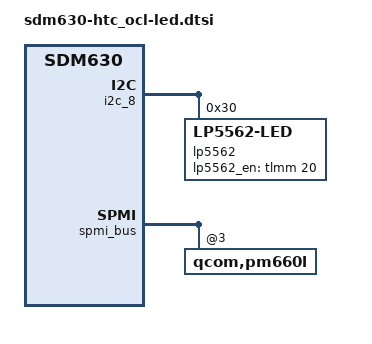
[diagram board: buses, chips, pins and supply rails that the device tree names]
&soc {
	tlmm: pinctrl@03000000 {
		lp5521_init: lp5562_init {
			mux {
				pins ="gpio20";
				function = "gpio";
			};
			conig {
				pins ="gpio20";
				drive-strength = <2>; // 2 MA
				bias-disable; // No PULL
				output-high;
			};
		};
	};
};

&i2c_8 {
	status = "okay";

	lp5562@30 {
		compatible = "LP5562-LED";
		reg = <0x30>;
		lp5562,lp5562_en = <&tlmm 20 0x00>;
		lp5562,LED_3v3_en = <&tca6418 2 0>;
		lp5562,num_leds = <2>;
		pinctrl-names = "lp5562_init";
		pinctrl-0 = <&lp5521_init>;
		lp5562,current_param = <75>;
		lp5562,vk_use;
		lp5562,vk_current_param = <200>;
		vk-pwm-array = [00 20 70 70 B0 B0 FF FF FF FF FF];
		vk-black-cg-id-def = "DEF00", "GRY00", "LOB00", "BLK00";
		vk-white-cg-id-def = "PNK00", "GOD00", "LOW00", "WHT00";
		vk-black-pwm-array-def = [00 10 40 40 40 40 90 90 90 90 90 FF FF FF FF FF];
		vk-white-pwm-array-def = [00 10 40 40 40 40 90 90 90 90 90 FF FF FF FF FF];
		vk-current-array-def =   [1F 1F 1F 1F 1F 1F 1F 1F 1F 1F 1F 7F 7F 7F 7F 7F];
		vk-black-pwm-array-sec = [00 10 40 40 40 40 90 90 90 90 90 FF FF FF FF FF];
		vk-white-pwm-array-sec = [00 10 40 40 40 40 90 90 90 90 90 FF FF FF FF FF];
		vk-current-array-sec =   [1F 1F 1F 1F 1F 1F 1F 1F 1F 1F 1F 7F 7F 7F 7F 7F];
	};
};

&spmi_bus {
	qcom,pm660l@3{
		qcom,leds@d300{
			compatible = "qcom,qpnp-flash-led-v2";
			qcom,gpio-flash-strobe = <&tca6418 8 0>;
		};
	};
};
